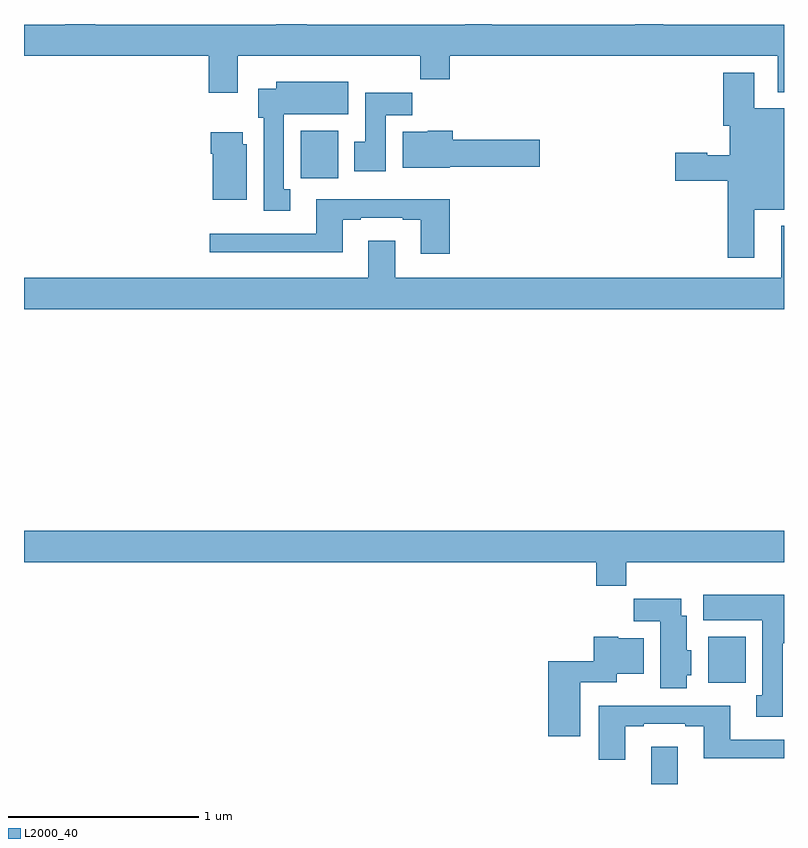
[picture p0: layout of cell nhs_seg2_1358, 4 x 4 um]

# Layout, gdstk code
import gdstk
lib = gdstk.Library(unit=1e-6, precision=1e-09)
def R(c, l, rs):  # rectangles x0, y0, x1, y1
    for r in rs: c.add(gdstk.rectangle(r[:2], r[2:], *l))
def P(c, l, *ps):  # polygons
    for p in ps: c.add(gdstk.Polygon(p, *l))
L2000_40 = (2000, 40)

nhs_seg2_1358 = lib.new_cell('nhs_seg2_1358')
R(nhs_seg2_1358, L2000_40, [(184.301,647.8,184.441,647.995), (184.601,648.332,184.798,648.574), (182.457,650.988,182.653,651.238)])
P(nhs_seg2_1358, L2000_40, [(182.125,651.632),(183.085,651.632),(183.085,651.508),(183.242,651.508),(183.242,651.632),(184.967,651.632),(184.967,651.442),(185,651.442),(185,651.796),(184.365,651.796),(184.365,651.8),(184.217,651.8),(184.217,651.796),(183.463,651.796),(183.463,651.8),(183.323,651.8),(183.323,651.796),(182.487,651.796),(182.487,651.8),(182.327,651.8),(182.327,651.796),(181.376,651.796),(181.376,651.8),(181.216,651.8),(181.216,651.796),(181,651.796),(181,651.632),(181.973,651.632),(181.973,651.438),(182.125,651.438)],
  [(184.843,650.822),(185,650.822),(185,651.357),(184.843,651.357),(184.843,651.544),(184.679,651.544),(184.679,651.264),(184.715,651.264),(184.715,651.109),(184.595,651.109),(184.595,651.122),(184.428,651.122),(184.428,650.975),(184.703,650.975),(184.703,650.571),(184.843,650.571)],
  [(182.401,650.929),(182.368,650.929),(182.368,651.326),(182.707,651.326),(182.707,651.496),(182.327,651.496),(182.327,651.46),(182.234,651.46),(182.234,651.306),(182.261,651.306),(182.261,650.817),(182.401,650.817)],
  [(182.905,651.32),(183.044,651.32),(183.044,651.438),(182.795,651.438),(182.795,651.18),(182.738,651.18),(182.738,651.024),(182.905,651.024)],
  [(183.24,651.05),(183.715,651.05),(183.715,651.192),(183.257,651.192),(183.257,651.238),(183.126,651.238),(183.126,651.232),(182.993,651.232),(182.993,651.044),(183.24,651.044)],
  [(182.173,651.168),(182.152,651.168),(182.152,651.229),(181.982,651.229),(181.982,651.116),(181.994,651.116),(181.994,650.876),(182.173,650.876)],
  [(183.242,650.878),(182.537,650.878),(182.537,650.697),(181.977,650.697),(181.977,650.6),(182.677,650.6),(182.677,650.769),(182.773,650.769),(182.773,650.781),(182.993,650.781),(182.993,650.769),(183.089,650.769),(183.089,650.592),(183.242,650.592)],
  [(185,650.737),(184.985,650.737),(184.985,650.464),(182.953,650.464),(182.953,650.659),(182.813,650.659),(182.813,650.464),(181,650.464),(181,650.3),(185,650.3)],
  [(184.169,648.968),(185,648.968),(185,649.132),(181,649.132),(181,648.968),(184.013,648.968),(184.013,648.844),(184.169,648.844)],
  [(184.993,648.542),(185,648.542),(185,648.796),(184.574,648.796),(184.574,648.662),(184.886,648.662),(184.886,648.266),(184.853,648.266),(184.853,648.153),(184.993,648.153)],
  [(184.489,648.372),(184.513,648.372),(184.513,648.504),(184.489,648.504),(184.489,648.685),(184.459,648.685),(184.459,648.775),(184.21,648.775),(184.21,648.656),(184.349,648.656),(184.349,648.305),(184.489,648.305)],
  [(183.928,648.335),(184.12,648.335),(184.12,648.38),(184.261,648.38),(184.261,648.568),(184.128,648.568),(184.128,648.574),(183.998,648.574),(183.998,648.445),(183.758,648.445),(183.758,648.051),(183.928,648.051)],
  [(184.165,648.105),(184.261,648.105),(184.261,648.117),(184.481,648.117),(184.481,648.105),(184.577,648.105),(184.577,647.936),(185,647.936),(185,648.033),(184.717,648.033),(184.717,648.213),(184.025,648.213),(184.025,647.928),(184.165,647.928)])

lib.write_gds('nhs_seg2_1358.gds')
